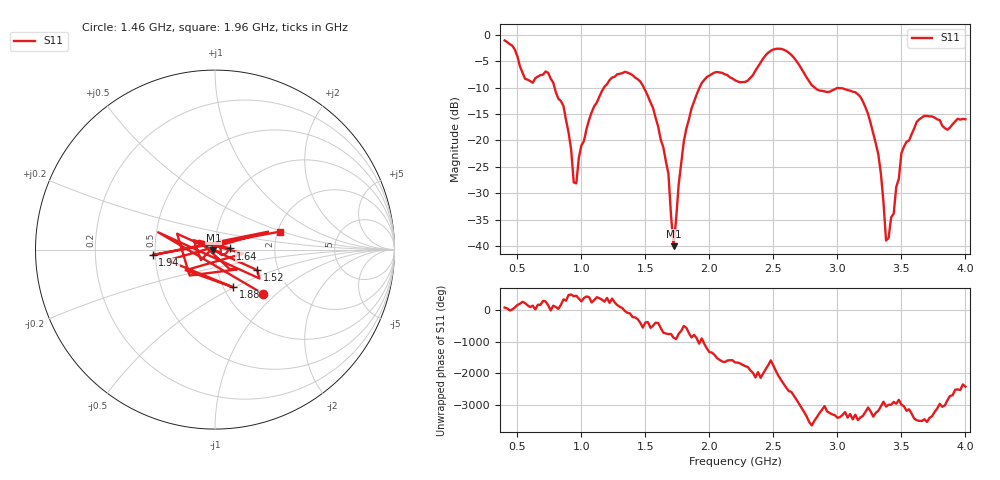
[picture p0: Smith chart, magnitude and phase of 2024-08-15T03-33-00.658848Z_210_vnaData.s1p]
!Created with skrf (http://scikit-rf.org).
# Hz S RI R 50.0
!freq ReS11 ImS11
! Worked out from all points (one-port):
!   181 points, 400 MHz to 4 GHz, reference 50 ohm
!   lowest |S11| = -40.0 dB at 1.72 GHz (marker M1), VSWR 1.02, Z = 49.1 - j0.392 ohm
!   |S11| at or under -10 dB: 790.5 MHz to 1.176 GHz (385.6 MHz wide, 39.2 % of centre); 1.488 GHz to 1.922 GHz (434.5 MHz wide, 25.5 % of centre); 2.824 GHz to end of sweep
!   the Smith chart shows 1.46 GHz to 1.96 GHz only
!   S11 on the Smith chart (normalised r, x): 1.46 GHz: 1.45, -0.82; 1.52 GHz: 1.56, -0.38; 1.64 GHz: 1.19, +0.02; 1.88 GHz: 1.11, -0.49; 1.94 GHz: 0.48, -0.03; 1.96 GHz: 2.05, +0.48
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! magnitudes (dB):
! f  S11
! 400 MHz  -1.1
! 560 MHz  -8.3
! 740 MHz  -7.2
! 860 MHz  -13.5
! 960 MHz  -28.1
! 1.08 GHz  -14.7
! 1.3 GHz  -7.4
! 1.46 GHz  -8.8
! 1.52 GHz  -11.6
! 1.64 GHz  -21.3
! 1.68 GHz  -26.3
! 1.72 GHz  -40.0
! 1.76 GHz  -28.4
! 1.88 GHz  -12.6
! 1.94 GHz  -9.1
! 1.96 GHz  -8.5
! 2.2 GHz  -8.6
! 2.66 GHz  -4.3
! 2.84 GHz  -10.3
! 3.1 GHz  -10.6
! 3.3 GHz  -20.6
! 3.34 GHz  -26.3
! 3.38 GHz  -39.0
! 3.44 GHz  -33.9
! 3.5 GHz  -22.4
! 3.56 GHz  -20.0
! 3.68 GHz  -15.3
! 4 GHz  -16.0
